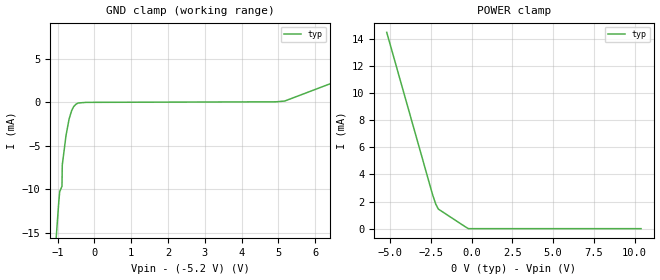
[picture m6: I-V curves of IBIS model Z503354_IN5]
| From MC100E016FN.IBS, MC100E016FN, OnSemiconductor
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| (C) COPYRIGHT 1993-2000
| MENTOR GRAPHICS CORPORATION
| ICX STANDARD LIBRARY, ICX PROJECT MODELING,
| ICX CUSTOM MODELING, ICX VENDOR MODEL
| ALL RIGHTS RESERVED.
| THE FOLLOWING ARE TRADEMARKS OR SERVICE MARKS OF
| MENTOR GRAPHICS CORPORATION:ICX (R), ICX STANDARD
| LIBRARY(R), ICX PROJECT MODELING(R), ICX CUSTOM
| MODELING(R), qualityIBIS(TM), MODELVIEWER(TM),
| AND MODELEDITOR(TM)
| ALL COPIES OF SOFTWARE, INCLUDING BUT NOT LIMITED TO
| ANY MODIFICATIONS, ENHANCEMENTS OR DERIVATIVE WORKS,
| MUST CONTAIN ALL MENTOR GRAPHICS CORPORATION'S
| NOTICES AND LEGENDS, INCLUDING THOSE EMBEDDED IN
| SOFTWARE AND THOSE AFFIXED TO SOFTWARE MEDIUM
| AND CONTAINER, AS RECEIVED FROM MENTOR GRAPHICS
| CORPORATION.
| Model Application Version 1.89 2/18/99.
[Model] Z503354_IN5
Model_type Input_ECL
Vinl = -1.475V
Vinh = -1.165V
C_comp 4.000pF NA NA
| variable typ   min   max
[Voltage Range] -5.200V NA NA
[GND Clamp Reference] -5.200V NA NA
[POWER Clamp Reference] 0.000V NA NA
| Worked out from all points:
|   GND clamp passes 1 mA (typ) near -0.62 V on its own axis
[GND Clamp]
-5.2V     -324.7mA   NA         NA
-1.084V   -18.19mA   NA         NA
-971mV    -11.56mA   NA         NA
-944mV    -10.26mA   NA         NA
-882mV    -9.646mA   NA         NA
-874mV    -7.2mA     NA         NA
-772mV    -3.804mA   NA         NA
-689mV    -1.935mA   NA         NA
-620mV    -971.4uA   NA         NA
-448mV    -96.65uA   NA         NA
5.171V    134uA      NA         NA
10.4V     8.529mA    NA         NA
[POWER Clamp]
-5.2V     14.48mA    NA         NA
-2.38V    2.475mA    NA         NA
-2.191V   1.805mA    NA         NA
-2.036V   1.445mA    NA         NA
-381.2mV  138.9uA    NA         NA
-190.6mV  0A         NA         NA
10.4V     0A         NA         NA
